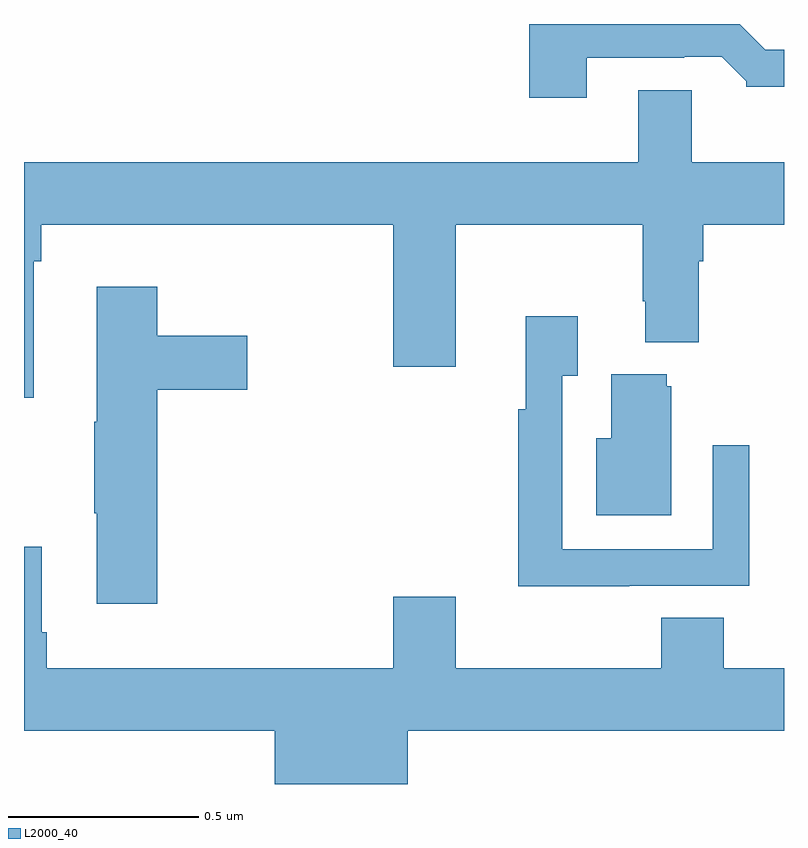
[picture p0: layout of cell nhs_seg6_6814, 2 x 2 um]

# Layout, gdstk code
import gdstk
lib = gdstk.Library(unit=1e-6, precision=1e-09)
def P(c, l, *ps):  # polygons
    for p in ps: c.add(gdstk.Polygon(p, *l))
L2000_40 = (2000, 40)

nhs_seg6_6814 = lib.new_cell('nhs_seg6_6814')
P(nhs_seg6_6814, L2000_40, [(201.481,978.411),(201.737,978.411),(201.737,978.414),(201.836,978.414),(201.9,978.35),(201.9,978.335),(202,978.335),(202,978.432),(201.951,978.432),(201.883,978.5),(201.329,978.5),(201.329,978.306),(201.481,978.306)],
  [(200.026,977.876),(200.045,977.876),(200.045,977.972),(200.972,977.972),(200.972,977.598),(201.136,977.598),(201.136,977.972),(201.628,977.972),(201.628,977.77),(201.635,977.77),(201.635,977.663),(201.775,977.663),(201.775,977.876),(201.788,977.876),(201.788,977.972),(202,977.972),(202,978.136),(201.757,978.136),(201.757,978.326),(201.617,978.326),(201.617,978.136),(200,978.136),(200,977.517),(200.026,977.517)],
  [(200.351,977.537),(200.587,977.537),(200.587,977.679),(200.351,977.679),(200.351,977.809),(200.192,977.809),(200.192,977.453),(200.185,977.453),(200.185,977.212),(200.192,977.212),(200.192,976.974),(200.351,976.974)],
  [(201.593,977.022),(201.909,977.022),(201.909,977.392),(201.813,977.392),(201.813,977.118),(201.417,977.118),(201.417,977.575),(201.457,977.575),(201.457,977.731),(201.32,977.731),(201.32,977.486),(201.301,977.486),(201.301,977.021),(201.593,977.021)],
  [(201.703,977.547),(201.692,977.547),(201.692,977.578),(201.545,977.578),(201.545,977.41),(201.506,977.41),(201.506,977.207),(201.703,977.207)],
  [(200.972,976.804),(200.06,976.804),(200.06,976.9),(200.047,976.9),(200.047,977.125),(200,977.125),(200,976.64),(200.66,976.64),(200.66,976.5),(201.01,976.5),(201.01,976.64),(202,976.64),(202,976.804),(201.842,976.804),(201.842,976.937),(201.677,976.937),(201.677,976.804),(201.136,976.804),(201.136,976.993),(200.972,976.993)])

lib.write_gds('nhs_seg6_6814.gds')
